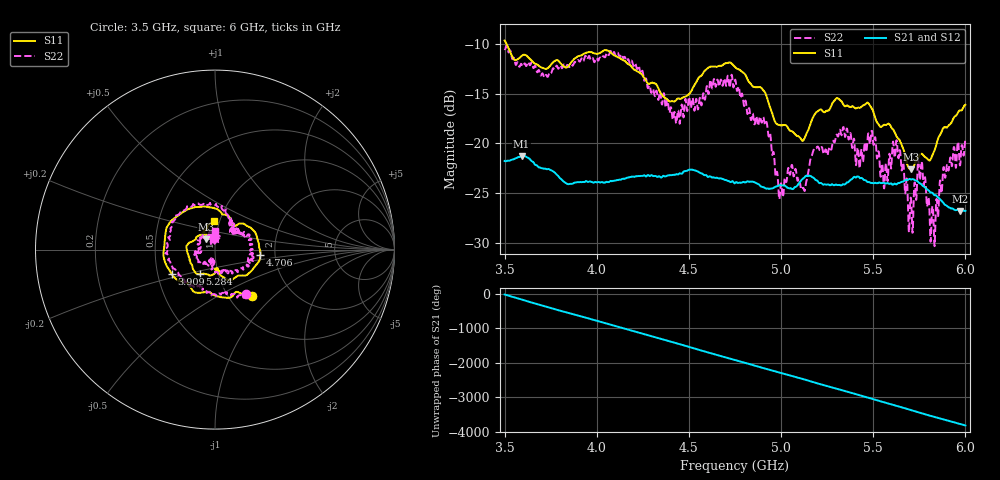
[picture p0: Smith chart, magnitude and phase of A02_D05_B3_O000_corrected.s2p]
! Created with skrf 1.9.0 (http://scikit-rf.org).
# Hz S RI R 50.0
!freq ReS11 ImS11 ReS21 ImS21 ReS12 ImS12 ReS22 ImS22
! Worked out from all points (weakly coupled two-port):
!   1601 points, 3.5 GHz to 6 GHz, reference 50 ohm
!   highest |S21| = -21.25 dB at 3.592 GHz (marker M1); lowest = -26.8 dB at 5.973 GHz (marker M2)
!   lowest |S11| = -22.6 dB at 5.706 GHz (marker M3), VSWR 1.16, Z = 45.1 + j5.12 ohm
!   |S11| at or under -10 dB: 3.512 GHz to end of sweep
!   |S22| runs from -30.3 to -10.1 dB; largest |S21 - S12| = 0.00098
!   S11 on the Smith chart (normalised r, x): 3.5 GHz: 1.27, -0.74; 3.909 GHz: 0.59, -0.17; 4.706 GHz: 1.67, -0.10; 5.284 GHz: 0.81, -0.23; 6 GHz: 0.94, +0.30
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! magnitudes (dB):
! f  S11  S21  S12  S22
! 3.5 GHz  -9.6  -21.8  -21.8  -10.5
! 3.592 GHz  -11.2  -21.2  -21.3  -12.0
! 3.909 GHz  -11.1  -23.9  -23.9  -11.7
! 3.917 GHz  -11.1  -23.9  -23.9  -11.4
! 4.123 GHz  -11.4  -23.6  -23.6  -11.3
! 4.334 GHz  -14.5  -23.3  -23.3  -15.6
! 4.441 GHz  -15.5  -23.1  -23.1  -16.7
! 4.706 GHz  -11.9  -23.7  -23.7  -13.7
! 4.75 GHz  -12.3  -24.0  -23.9  -13.6
! 4.914 GHz  -14.9  -24.5  -24.5  -18.1
! 5 GHz  -18.2  -24.2  -24.2  -24.0
! 5.122 GHz  -19.7  -23.5  -23.5  -24.5
! 5.167 GHz  -17.6  -23.4  -23.3  -21.2
! 5.284 GHz  -15.8  -24.2  -24.2  -19.8
! 5.584 GHz  -18.0  -24.1  -24.0  -21.7
! 5.636 GHz  -19.5  -24.0  -23.9  -21.4
! 5.706 GHz  -22.6  -23.6  -23.6  -25.8
! 5.755 GHz  -21.1  -24.0  -24.0  -23.5
! 5.823 GHz  -21.1  -25.0  -25.0  -26.5
! 5.889 GHz  -18.4  -26.2  -26.2  -23.4
! 5.973 GHz  -16.7  -26.8  -26.7  -21.9
! 6 GHz  -16.1  -26.8  -26.7  -19.6
